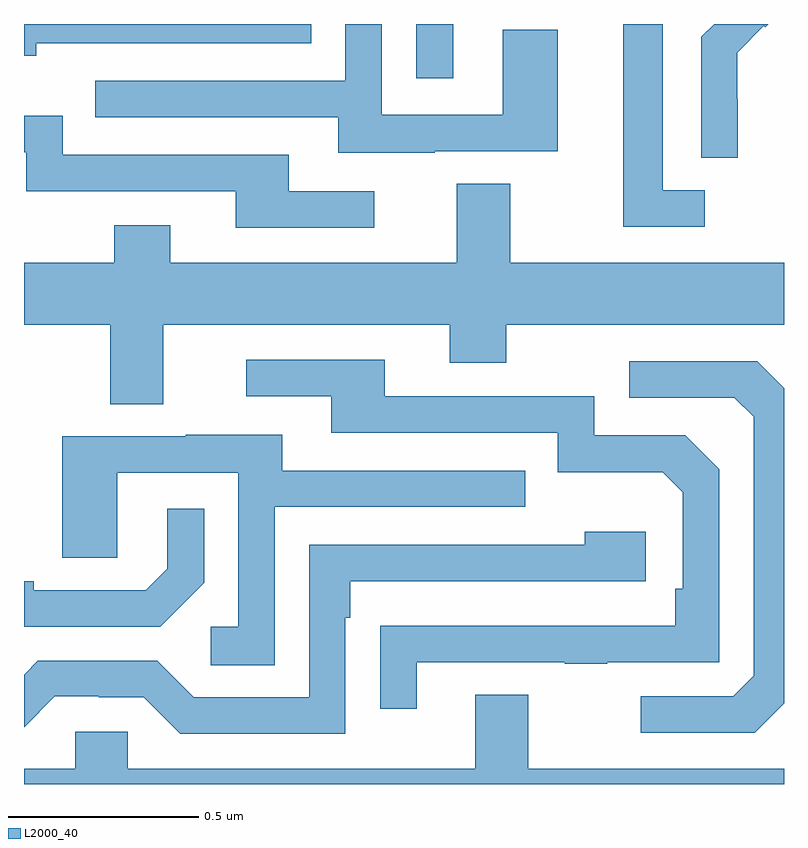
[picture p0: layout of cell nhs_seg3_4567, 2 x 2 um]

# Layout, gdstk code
import gdstk
lib = gdstk.Library(unit=1e-6, precision=1e-09)
def R(c, l, rs):  # rectangles x0, y0, x1, y1
    for r in rs: c.add(gdstk.rectangle(r[:2], r[2:], *l))
def P(c, l, *ps):  # polygons
    for p in ps: c.add(gdstk.Polygon(p, *l))
L2000_40 = (2000, 40)

nhs_seg3_4567 = lib.new_cell('nhs_seg3_4567')
R(nhs_seg3_4567, L2000_40, [(169.032,676.257,169.129,676.4)])
P(nhs_seg3_4567, L2000_40, [(169.081,676.065),(169.405,676.065),(169.405,676.385),(169.26,676.385),(169.26,676.161),(168.942,676.161),(168.942,676.4),(168.846,676.4),(168.846,676.251),(168.187,676.251),(168.187,676.155),(168.827,676.155),(168.827,676.061),(169.081,676.061)],
  [(169.792,675.963),(169.681,675.963),(169.681,676.4),(169.577,676.4),(169.577,675.867),(169.792,675.867)],
  [(169.878,676.202),(169.877,676.202),(169.877,676.325),(169.947,676.395),(169.95,676.392),(169.958,676.4),(169.816,676.4),(169.782,676.366),(169.782,676.048),(169.878,676.048)],
  [(168.032,676.35),(168.756,676.35),(168.756,676.4),(168,676.4),(168,676.316),(168.032,676.316)],
  [(168.922,675.96),(168.697,675.96),(168.697,676.056),(168.102,676.056),(168.102,676.159),(168,676.159),(168,676.062),(168.006,676.062),(168.006,675.96),(168.557,675.96),(168.557,675.864),(168.922,675.864)],
  [(168.367,675.608),(169.121,675.608),(169.121,675.509),(169.269,675.509),(169.269,675.608),(170,675.608),(170,675.772),(169.279,675.772),(169.279,675.98),(169.139,675.98),(169.139,675.772),(168.385,675.772),(168.385,675.871),(168.238,675.871),(168.238,675.772),(168,675.772),(168,675.608),(168.227,675.608),(168.227,675.4),(168.367,675.4)],
  [(169.033,674.721),(169.423,674.721),(169.423,674.716),(169.535,674.716),(169.535,674.721),(169.83,674.721),(169.83,675.228),(169.74,675.318),(169.5,675.318),(169.5,675.42),(168.949,675.42),(168.949,675.516),(168.585,675.516),(168.585,675.42),(168.809,675.42),(168.809,675.324),(169.404,675.324),(169.404,675.221),(169.681,675.221),(169.734,675.168),(169.734,674.914),(169.714,674.914),(169.714,674.817),(169.039,674.817),(169.039,674.816),(168.937,674.816),(168.937,674.598),(169.033,674.598)],
  [(170,674.612),(170,675.442),(169.929,675.513),(169.593,675.513),(169.593,675.417),(169.869,675.417),(169.92,675.366),(169.92,674.685),(169.866,674.631),(169.623,674.631),(169.623,674.535),(169.923,674.535)],
  [(168.66,675.129),(169.319,675.129),(169.319,675.225),(168.679,675.225),(168.679,675.319),(168.425,675.319),(168.425,675.315),(168.101,675.315),(168.101,674.995),(168.246,674.995),(168.246,675.219),(168.564,675.219),(168.564,674.814),(168.492,674.814),(168.492,674.713),(168.66,674.713)],
  [(168.474,674.93),(168.474,675.124),(168.377,675.124),(168.377,674.967),(168.32,674.91),(168.025,674.91),(168.025,674.933),(168,674.933),(168,674.814),(168.358,674.814)],
  [(168.846,674.837),(168.859,674.837),(168.859,674.934),(169.636,674.934),(169.636,675.064),(169.475,675.064),(169.475,675.03),(168.75,675.03),(168.75,674.628),(168.447,674.628),(168.351,674.724),(168.036,674.724),(168,674.688),(168,674.55),(168.081,674.631),(168.197,674.631),(168.197,674.628),(168.315,674.628),(168.411,674.532),(168.846,674.532)],
  [(170,674.44),(169.327,674.44),(169.327,674.635),(169.187,674.635),(169.187,674.44),(168.273,674.44),(168.273,674.538),(168.135,674.538),(168.135,674.44),(168,674.44),(168,674.4),(170,674.4)])

lib.write_gds('nhs_seg3_4567.gds')
